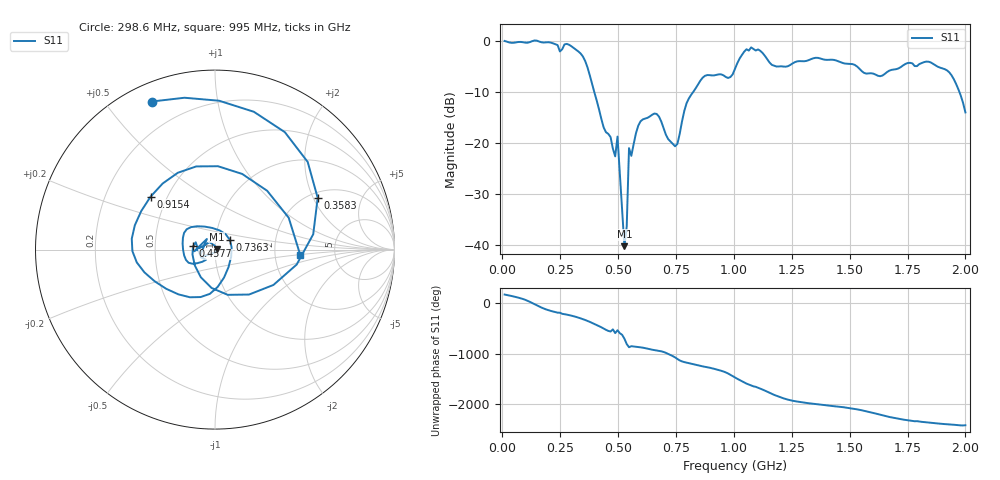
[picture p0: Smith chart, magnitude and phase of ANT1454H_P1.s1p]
!Created with skrf (http://scikit-rf.org).
# Hz S RI R 50.0
!freq ReS11 ImS11
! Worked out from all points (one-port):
!   201 points, 10 MHz to 2 GHz, reference 50 ohm
!   lowest |S11| = -40.2 dB at 527.4 MHz (marker M1), VSWR 1.02, Z = 50.9 + j0.299 ohm
!   |S11| at or under -10 dB: 397.7 MHz to 823.2 MHz (425.5 MHz wide, 69.7 % of centre); 1.975 GHz to end of sweep
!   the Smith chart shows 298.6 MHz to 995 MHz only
!   S11 on the Smith chart (normalised r, x): 298.6 MHz: 0.08, +0.66; 358.2 MHz: 2.22, +2.17; 457.8 MHz: 0.78, +0.03; 736.4 MHz: 1.17, +0.13; 915.5 MHz: 0.41, +0.30; 995 MHz: 2.80, -0.21
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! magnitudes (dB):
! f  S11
! 10 MHz  0.1
! 258.8 MHz  -1.5
! 298.6 MHz  -0.9
! 358.2 MHz  -3.9
! 457.8 MHz  -18.1
! 487.6 MHz  -22.6
! 497.6 MHz  -18.7
! 507.5 MHz  -25.8
! 527.4 MHz  -40.2
! 537.4 MHz  -36.3
! 547.3 MHz  -20.9
! 557.2 MHz  -22.5
! 587.1 MHz  -16.6
! 666.7 MHz  -14.2
! 736.4 MHz  -20.1
! 756.2 MHz  -20.1
! 806 MHz  -11.2
! 915.5 MHz  -6.7
! 995 MHz  -6.5
! 1.005 GHz  -5.4
! 1.075 GHz  -1.2
! 1.164 GHz  -4.6
! 1.254 GHz  -4.3
! 1.502 GHz  -4.4
! 1.632 GHz  -6.8
! 1.751 GHz  -4.2
! 1.93 GHz  -6.1
! 2 GHz  -13.9
